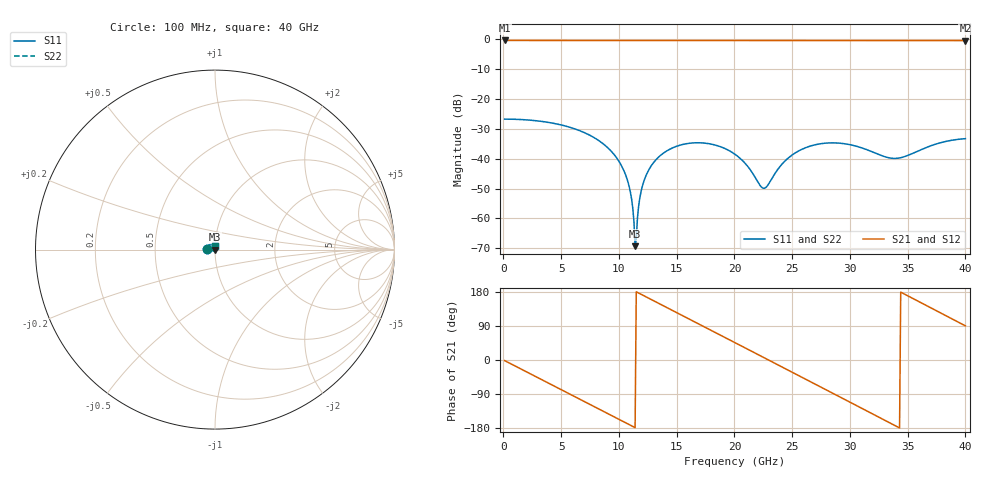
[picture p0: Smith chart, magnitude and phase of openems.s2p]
! thru_ts6_L6: 2×thru, L6, 8 mm
! stackup: ThunderScope Rev5.3 6-layer (FR408HR / FR-4, from the board file)
! ports: 1, 2
! openEMS 0.37.0, staircase, fine mesh (dfine 0.0175 mm), 605772 cells
# Hz S RI R 50
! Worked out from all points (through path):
!   400 points, 100 MHz to 40 GHz, reference 50 ohm
!   highest |S21| = -0.41 dB at 100 MHz (marker M1); lowest = -0.5 dB at 40 GHz (marker M2)
!   group delay of S21, straight-line fit = 43.7 ps
!   lowest |S11| = -69.3 dB at 11.4 GHz (marker M3), VSWR 1.00, Z = 50 + j0.0331 ohm
!   |S11| at or under -10 dB: start of sweep to end of sweep
!   |S22| runs from -69.3 to -26.8 dB; largest |S21 - S12| = 0
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1e8  -0.0459 0.000917  0.9536 -0.0261  0.9536 -0.0261  -0.0459 0.000917
3.8e9  -0.0288 0.0289  0.4846 -0.8215  0.4846 -0.8215  -0.0288 0.0289
6.8e9  -0.00297 0.0283  -0.2696 -0.9146  -0.2696 -0.9146  -0.00297 0.0283
9e9  0.00642 0.0141  -0.7394 -0.6016  -0.7394 -0.6016  0.00642 0.0141
1.04e10  0.00449 0.00467  -0.9104 -0.2819  -0.9104 -0.2819  0.00449 0.00467
1.11e10  0.00159 0.00134  -0.9473 -0.1035  -0.9473 -0.1035  0.00159 0.00134
1.13e10  0.000604 0.000639  -0.9515 -0.0516  -0.9515 -0.0516  0.000604 0.000639
1.14e10  8.79e-05 0.000331  -0.9525 -0.0256  -0.9525 -0.0256  8.79e-05 0.000331
1.15e10  -0.000439 5.39e-05  -0.9529 0.000502  -0.9529 0.000502  -0.000439 5.39e-05
1.17e10  -0.00152 -0.000407  -0.9514 0.0526  -0.9514 0.0526  -0.00152 -0.000407
1.2e10  -0.00319 -0.00086  -0.9438 0.1304  -0.9438 0.1304  -0.00319 -0.00086
1.34e10  -0.0105 0.00074  -0.8266 0.4736  -0.8266 0.4736  -0.0105 0.00074
1.68e10  -0.00919 0.016  -0.1133 0.9457  -0.1133 0.9457  -0.00919 0.016
2.01e10  0.0065 0.00967  0.6737 0.6727  0.6737 0.6727  0.0065 0.00967
2.26e10  0.00122 -0.00296  0.947 0.0929  0.947 0.0929  0.00122 -0.00296
2.45e10  -0.00946 -0.00181  0.8667 -0.3919  0.8667 -0.3919  -0.00946 -0.00181
2.67e10  -0.0125 0.0108  0.4892 -0.8153  0.4892 -0.8153  -0.0125 0.0108
2.99e10  0.00696 0.0159  -0.3189 -0.8954  -0.3189 -0.8954  0.00696 0.0159
3.34e10  0.00662 -0.00793  -0.9178 -0.2451  -0.9178 -0.2451  0.00662 -0.00793
3.63e10  -0.0143 -0.0023  -0.8131 0.49  -0.8131 0.49  -0.0143 -0.0023
3.82e10  -0.013 0.0142  -0.456 0.832  -0.456 0.832  -0.013 0.0142
4e10  0.00246 0.0215  -0.00131 0.9484  -0.00131 0.9484  0.00246 0.0215
